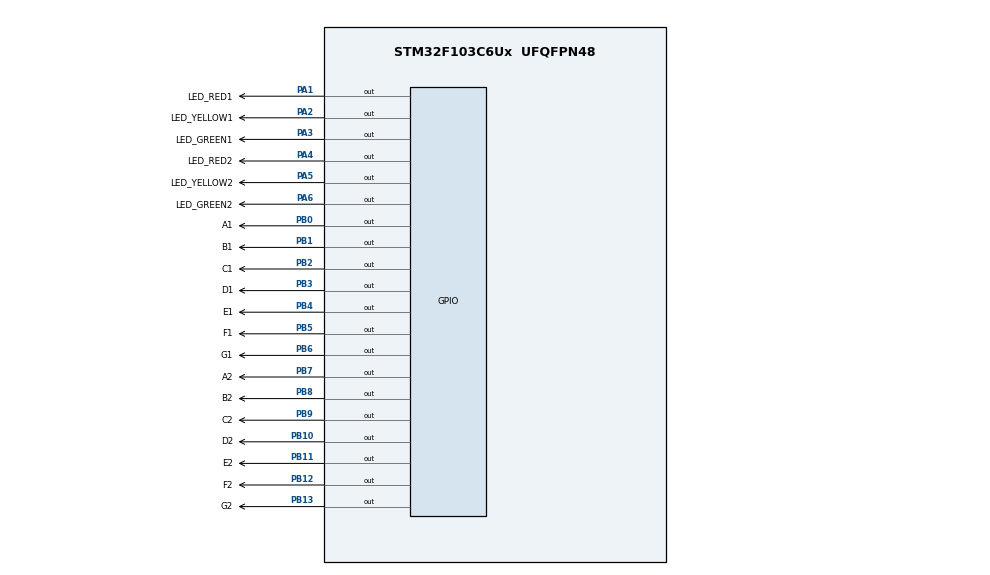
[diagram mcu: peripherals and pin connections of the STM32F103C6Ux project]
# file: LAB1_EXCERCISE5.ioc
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Mcu.Family=STM32F1
Mcu.Name=STM32F103C6Ux
Mcu.Package=UFQFPN48
NVIC.PriorityGroup=NVIC_PRIORITYGROUP_4
PA1.GPIO_Label=LED_RED1
PA1.Signal=GPIO_Output
PA2.GPIO_Label=LED_YELLOW1
PA2.Signal=GPIO_Output
PA3.GPIO_Label=LED_GREEN1
PA3.Signal=GPIO_Output
PA4.GPIO_Label=LED_RED2
PA4.Signal=GPIO_Output
PA5.GPIO_Label=LED_YELLOW2
PA5.Signal=GPIO_Output
PA6.GPIO_Label=LED_GREEN2
PA6.Signal=GPIO_Output
PB0.GPIO_Label=A1
PB0.Signal=GPIO_Output
PB1.GPIO_Label=B1
PB1.Signal=GPIO_Output
PB10.GPIO_Label=D2
PB10.Signal=GPIO_Output
PB11.GPIO_Label=E2
PB11.Signal=GPIO_Output
PB12.GPIO_Label=F2
PB12.Signal=GPIO_Output
PB13.GPIO_Label=G2
PB13.Signal=GPIO_Output
PB2.GPIO_Label=C1
PB2.Signal=GPIO_Output
PB3.GPIO_Label=D1
PB3.Signal=GPIO_Output
PB4.GPIO_Label=E1
PB4.Signal=GPIO_Output
PB5.GPIO_Label=F1
PB5.Signal=GPIO_Output
PB6.GPIO_Label=G1
PB6.Signal=GPIO_Output
PB7.GPIO_Label=A2
PB7.Signal=GPIO_Output
PB8.GPIO_Label=B2
PB8.Signal=GPIO_Output
PB9.GPIO_Label=C2
PB9.Signal=GPIO_Output
ProjectManager.HeapSize=0x200
ProjectManager.StackSize=0x400
ProjectManager.TargetToolchain=STM32CubeIDE
RCC.APB1Freq_Value=8000000
RCC.APB2Freq_Value=8000000
VP_SYS_VS_ND.Mode=No_Debug
board=custom

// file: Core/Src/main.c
/* USER CODE BEGIN Header */
/**
  ******************************************************************************
  * @file           : main.c
  * @brief          : Main program body
  ******************************************************************************
  * @attention
  *
  * <h2><center>&copy; Copyright (c) 2025 STMicroelectronics.
  * All rights reserved.</center></h2>
  *
  * This software component is licensed by ST under BSD 3-Clause license,
  * the "License"; You may not use this file except in compliance with the
  * License. You may obtain a copy of the License at:
  *                        opensource.org/licenses/BSD-3-Clause
  *
  ******************************************************************************
  */
/* USER CODE END Header */
#include "main.h"

void SystemClock_Config(void);
static void MX_GPIO_Init(void);

uint16_t SEG_PINS[7] = {A1_Pin, B1_Pin, C1_Pin,
		D1_Pin, E1_Pin, F1_Pin, G1_Pin};
uint16_t SEG_PINS2[7] = {A2_Pin, B2_Pin, C2_Pin,
		D2_Pin, E2_Pin, F2_Pin, G2_Pin};
// Bảng mẫu: 0 = bật (LOW), 1 = tắt (HIGH)
uint8_t segment_code[10][7] = {
    // a  b  c  d  e  f  g
    {0, 0, 0, 0, 0, 0, 1}, // 0
    {1, 0, 0, 1, 1, 1, 1}, // 1
    {0, 0, 1, 0, 0, 1, 0}, // 2
    {0, 0, 0, 0, 1, 1, 0}, // 3
    {1, 0, 0, 1, 1, 0, 0}, // 4
    {0, 1, 0, 0, 1, 0, 0}, // 5
    {0, 1, 0, 0, 0, 0, 0}, // 6
    {0, 0, 0, 1, 1, 1, 1}, // 7
    {0, 0, 0, 0, 0, 0, 0}, // 8
    {0, 0, 0, 0, 1, 0, 0}  // 9
};

void display7SEG(int num) {
    if (num < 0 || num > 9) return; // chỉ hiển thị 0-9

    for (int i = 0; i < 7; i++) {
        HAL_GPIO_WritePin(GPIOB, SEG_PINS[i],
                          segment_code[num][i] ? GPIO_PIN_SET : GPIO_PIN_RESET);
    }
}
void display7SEG2(int num) {
    if (num < 0 || num > 9) return; // chỉ hiển thị 0-9

    for (int i = 0; i < 7; i++) {
        HAL_GPIO_WritePin(GPIOB, SEG_PINS2[i],
                          segment_code[num][i] ? GPIO_PIN_SET : GPIO_PIN_RESET);
    }
}
int main(void)
{

  /* MCU Configuration--------------------------------------------------------*/

  /* Reset of all peripherals, Initializes the Flash interface and the Systick. */
  HAL_Init();

  /* Configure the system clock */
  SystemClock_Config();

  /* Initialize all configured peripherals */
  MX_GPIO_Init();

  /* Infinite loop */
  /* USER CODE BEGIN WHILE */
  int count = 0;
  int digit1 = 0;
  int digit2 = 0;
  int STATE = 1;
  int STATE1 = 1;
  while (1)
  {
	  count = count%10;
	  if (count < 5) STATE = 1; // Do
	  else if ( count <8) STATE = 3; // Xanh
	  else if ( count < 10) STATE = 2; // Vang
	  switch (STATE){
		  case(1): // Do -> 1
		   HAL_GPIO_WritePin(LED_RED1_GPIO_Port, LED_RED1_Pin, SET);
		   HAL_GPIO_WritePin(LED_YELLOW1_GPIO_Port, LED_YELLOW1_Pin, RESET);
		   HAL_GPIO_WritePin(LED_GREEN1_GPIO_Port, LED_GREEN1_Pin, RESET);
		   digit1 = 5-count;
		   break;
		  case(2): // Vang -> 2
		   HAL_GPIO_WritePin(LED_RED1_GPIO_Port, LED_RED1_Pin, RESET);
		   HAL_GPIO_WritePin(LED_YELLOW1_GPIO_Port, LED_YELLOW1_Pin, SET);
		   HAL_GPIO_WritePin(LED_GREEN1_GPIO_Port, LED_GREEN1_Pin, RESET);
		   digit1 = 10-count;
		   break;
		  default:// Xanh -> 3
		   HAL_GPIO_WritePin(LED_RED1_GPIO_Port, LED_RED1_Pin, RESET);
		   HAL_GPIO_WritePin(LED_YELLOW1_GPIO_Port, LED_YELLOW1_Pin, RESET);
		   HAL_GPIO_WritePin(LED_GREEN1_GPIO_Port, LED_GREEN1_Pin, SET);
		   digit1 = 8-count;
		   break;
	  }
	  if (count < 3) STATE1 = 3; // Xanh
	  else if ( count <5) STATE1 = 2; // Vang
	  else if ( count < 10) STATE1 = 1; // Do
	  switch (STATE1){
		  case(1): // Do -> 1
		   HAL_GPIO_WritePin(LED_RED2_GPIO_Port, LED_RED2_Pin, SET);
		   HAL_GPIO_WritePin(LED_YELLOW2_GPIO_Port, LED_YELLOW2_Pin, RESET);
		   HAL_GPIO_WritePin(LED_GREEN2_GPIO_Port, LED_GREEN2_Pin, RESET);
		   digit2 = 10-count;
		   break;
		  case(2): // Vang - 2
		   HAL_GPIO_WritePin(LED_RED2_GPIO_Port, LED_RED2_Pin, RESET);
		   HAL_GPIO_WritePin(LED_YELLOW2_GPIO_Port, LED_YELLOW2_Pin, SET);
		   HAL_GPIO_WritePin(LED_GREEN2_GPIO_Port, LED_GREEN2_Pin, RESET);
		   digit2 = 5-count;
		   break;
		  default:// Xanh - 3
		   HAL_GPIO_WritePin(LED_RED2_GPIO_Port, LED_RED2_Pin, RESET);
		   HAL_GPIO_WritePin(LED_YELLOW2_GPIO_Port, LED_YELLOW2_Pin, RESET);
		   HAL_GPIO_WritePin(LED_GREEN2_GPIO_Port, LED_GREEN2_Pin, SET);
		   digit2 = 3 -count;
		   break;
	  }
	  display7SEG2(digit2);
	  display7SEG(digit1);
	  count++;
	  HAL_Delay(1000);
    /* USER CODE END WHILE */

  }
}

void SystemClock_Config(void)
{
  RCC_OscInitTypeDef RCC_OscInitStruct = {0};
  RCC_ClkInitTypeDef RCC_ClkInitStruct = {0};

  /** Initializes the RCC Oscillators according to the specified parameters
  * in the RCC_OscInitTypeDef structure.
  */
  RCC_OscInitStruct.OscillatorType = RCC_OSCILLATORTYPE_HSI;
  RCC_OscInitStruct.HSIState = RCC_HSI_ON;
  RCC_OscInitStruct.HSICalibrationValue = RCC_HSICALIBRATION_DEFAULT;
  RCC_OscInitStruct.PLL.PLLState = RCC_PLL_NONE;
  if (HAL_RCC_OscConfig(&RCC_OscInitStruct) != HAL_OK)
  {
    Error_Handler();
  }
  /** Initializes the CPU, AHB and APB buses clocks
  */
  RCC_ClkInitStruct.ClockType = RCC_CLOCKTYPE_HCLK|RCC_CLOCKTYPE_SYSCLK
                              |RCC_CLOCKTYPE_PCLK1|RCC_CLOCKTYPE_PCLK2;
  RCC_ClkInitStruct.SYSCLKSource = RCC_SYSCLKSOURCE_HSI;
  RCC_ClkInitStruct.AHBCLKDivider = RCC_SYSCLK_DIV1;
  RCC_ClkInitStruct.APB1CLKDivider = RCC_HCLK_DIV1;
  RCC_ClkInitStruct.APB2CLKDivider = RCC_HCLK_DIV1;

  if (HAL_RCC_ClockConfig(&RCC_ClkInitStruct, FLASH_LATENCY_0) != HAL_OK)
  {
    Error_Handler();
  }
}

static void MX_GPIO_Init(void)
{
  GPIO_InitTypeDef GPIO_InitStruct = {0};

  /* GPIO Ports Clock Enable */
  __HAL_RCC_GPIOA_CLK_ENABLE();
  __HAL_RCC_GPIOB_CLK_ENABLE();

  /*Configure GPIO pin Output Level */
  HAL_GPIO_WritePin(GPIOA, LED_RED1_Pin|LED_YELLOW1_Pin|LED_GREEN1_Pin|LED_RED2_Pin
                          |LED_YELLOW2_Pin|LED_GREEN2_Pin, GPIO_PIN_RESET);

  /*Configure GPIO pin Output Level */
  HAL_GPIO_WritePin(GPIOB, A1_Pin|B1_Pin|C1_Pin|D2_Pin
                          |E2_Pin|F2_Pin|G2_Pin|D1_Pin
                          |E1_Pin|F1_Pin|G1_Pin|A2_Pin
                          |B2_Pin|C2_Pin, GPIO_PIN_RESET);

  /*Configure GPIO pins : LED_RED1_Pin LED_YELLOW1_Pin LED_GREEN1_Pin LED_RED2_Pin
                           LED_YELLOW2_Pin LED_GREEN2_Pin */
  GPIO_InitStruct.Pin = LED_RED1_Pin|LED_YELLOW1_Pin|LED_GREEN1_Pin|LED_RED2_Pin
                          |LED_YELLOW2_Pin|LED_GREEN2_Pin;
  GPIO_InitStruct.Mode = GPIO_MODE_OUTPUT_PP;
  GPIO_InitStruct.Pull = GPIO_NOPULL;
  GPIO_InitStruct.Speed = GPIO_SPEED_FREQ_LOW;
  HAL_GPIO_Init(GPIOA, &GPIO_InitStruct);

  /*Configure GPIO pins : A1_Pin B1_Pin C1_Pin D2_Pin
                           E2_Pin F2_Pin G2_Pin D1_Pin
                           E1_Pin F1_Pin G1_Pin A2_Pin
                           B2_Pin C2_Pin */
  GPIO_InitStruct.Pin = A1_Pin|B1_Pin|C1_Pin|D2_Pin
                          |E2_Pin|F2_Pin|G2_Pin|D1_Pin
                          |E1_Pin|F1_Pin|G1_Pin|A2_Pin
                          |B2_Pin|C2_Pin;
  GPIO_InitStruct.Mode = GPIO_MODE_OUTPUT_PP;
  GPIO_InitStruct.Pull = GPIO_NOPULL;
  GPIO_InitStruct.Speed = GPIO_SPEED_FREQ_LOW;
  HAL_GPIO_Init(GPIOB, &GPIO_InitStruct);

}

void Error_Handler(void)
{
  __disable_irq();
  while (1)
  {
  }
}

/************************ (C) COPYRIGHT STMicroelectronics *****END OF FILE****/
